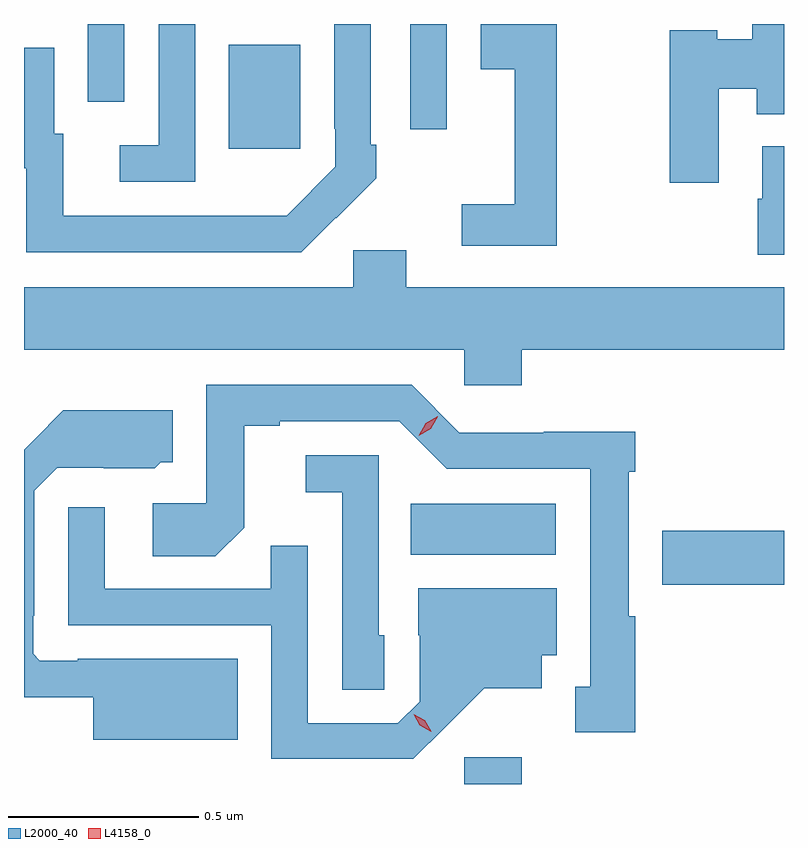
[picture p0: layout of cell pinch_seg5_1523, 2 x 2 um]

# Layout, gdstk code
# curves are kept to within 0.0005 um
import gdstk
lib = gdstk.Library(unit=1e-6, precision=1e-09)
def R(c, l, rs):  # rectangles x0, y0, x1, y1
    for r in rs: c.add(gdstk.rectangle(r[:2], r[2:], *l))
def P(c, l, *ps):  # polygons
    for p in ps: c.add(gdstk.Polygon(p, *l))
L2000_40 = (2000, 40)
L4158_0 = (4158, 0)

pinch_seg5_1523 = lib.new_cell('pinch_seg5_1523')
R(pinch_seg5_1523, L2000_40, [(122.19,890.249,122.342,890.32), (122.712,890.774,123.032,890.916), (122.05,890.852,122.431,890.986), (121.571,891.921,121.759,892.195), (122.049,891.972,122.145,892.249), (121.2,892.044,121.296,892.249)])
P(pinch_seg5_1523, L2000_40, [(122.86,892.079),(122.96,892.079),(122.96,892.012),(123.032,892.012),(123.032,892.249),(122.948,892.249),(122.948,892.209),(122.856,892.209),(122.856,892.232),(122.731,892.232),(122.731,891.831),(122.86,891.831)],
  [(121.853,891.739),(121.854,891.738),(121.959,891.843),(121.959,891.931),(121.944,891.931),(121.944,892.249),(121.848,892.249),(121.848,891.973),(121.851,891.973),(121.851,891.873),(121.723,891.745),(121.619,891.745),(121.619,891.744),(121.135,891.744),(121.135,891.96),(121.111,891.96),(121.111,892.186),(121.032,892.186),(121.032,891.87),(121.038,891.87),(121.038,891.648),(121.762,891.648)],
  [(122.434,892.249),(122.234,892.249),(122.234,892.13),(122.324,892.13),(122.324,891.775),(122.184,891.775),(122.184,891.666),(122.434,891.666)],
  [(121.482,892.249),(121.386,892.249),(121.386,891.93),(121.284,891.93),(121.284,891.834),(121.482,891.834)],
  [(123.032,891.927),(122.975,891.927),(122.975,891.789),(122.963,891.789),(122.963,891.642),(123.032,891.642)],
  [(122.342,891.392),(123.032,891.392),(123.032,891.556),(122.038,891.556),(122.038,891.654),(121.899,891.654),(121.899,891.556),(121.032,891.556),(121.032,891.392),(122.19,891.392),(122.19,891.299),(122.342,891.299)],
  [(122.641,890.69),(122.623,890.69),(122.623,891.071),(122.641,891.071),(122.641,891.176),(122.4,891.176),(122.4,891.174),(122.178,891.174),(122.052,891.3),(121.512,891.3),(121.512,890.988),(121.371,890.988),(121.371,890.848),(121.535,890.848),(121.611,890.924),(121.611,891.192),(121.705,891.192),(121.705,891.204),(122.019,891.204),(122.145,891.078),(122.522,891.078),(122.522,890.505),(122.483,890.505),(122.483,890.385),(122.641,890.385)],
  [(121.594,890.578),(121.174,890.578),(121.174,890.574),(121.074,890.574),(121.056,890.592),(121.056,890.692),(121.059,890.692),(121.059,891.021),(121.119,891.081),(121.242,891.081),(121.242,891.08),(121.376,891.08),(121.392,891.096),(121.423,891.096),(121.423,891.232),(121.135,891.232),(121.032,891.128),(121.032,890.477),(121.214,890.477),(121.214,890.366),(121.594,890.366)],
  [(121.98,890.64),(121.965,890.64),(121.965,891.114),(121.773,891.114),(121.773,891.017),(121.869,891.017),(121.869,890.497),(121.98,890.497)],
  [(122.14,890.399),(122.243,890.501),(122.395,890.501),(122.395,890.588),(122.434,890.588),(122.434,890.764),(122.069,890.764),(122.069,890.64),(122.073,890.64),(122.073,890.466),(122.016,890.409),(121.779,890.409),(121.779,890.876),(121.681,890.876),(121.681,890.763),(121.245,890.763),(121.245,890.977),(121.149,890.977),(121.149,890.667),(121.683,890.667),(121.683,890.316),(122.056,890.316)])
P(pinch_seg5_1523, L4158_0, [(122.071,891.166),(122.071,891.166),(122.089,891.198),(122.121,891.217),(122.121,891.217),(122.121,891.216),(122.103,891.184),(122.071,891.166)],
  [(122.104,890.387),(122.073,890.403),(122.057,890.433),(122.057,890.433),(122.057,890.433),(122.087,890.417),(122.104,890.388),(122.104,890.387)])

lib.write_gds('pinch_seg5_1523.gds')
